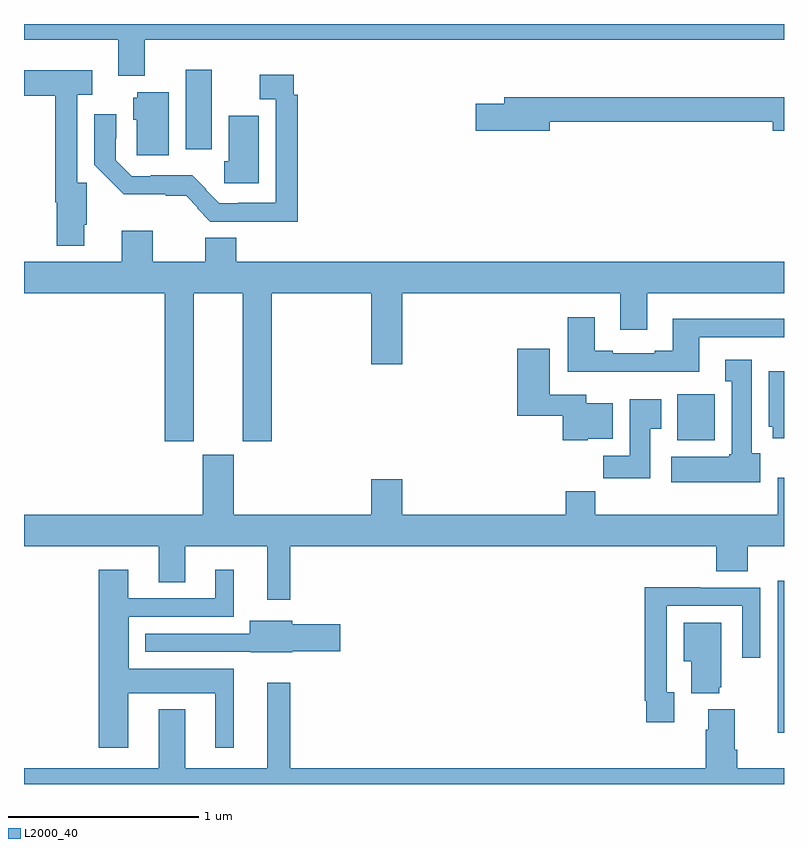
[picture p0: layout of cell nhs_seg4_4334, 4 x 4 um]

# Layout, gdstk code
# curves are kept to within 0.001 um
import gdstk
lib = gdstk.Library(unit=1e-6, precision=1e-09)
def R(c, l, rs):  # rectangles x0, y0, x1, y1
    for r in rs: c.add(gdstk.rectangle(r[:2], r[2:], *l))
def P(c, l, *ps):  # polygons
    for p in ps: c.add(gdstk.Polygon(p, *l))
L2000_40 = (2000, 40)

nhs_seg4_4334 = lib.new_cell('nhs_seg4_4334')
R(nhs_seg4_4334, L2000_40, [(346.439,798.71,346.636,798.952), (343.85,800.24,343.987,800.659)])
P(nhs_seg4_4334, L2000_40, [(343.636,800.816),(347,800.816),(347,800.9),(343,800.9),(343,800.816),(343.496,800.816),(343.496,800.627),(343.636,800.627)],
  [(343.318,799.843),(343.331,799.843),(343.331,800.064),(343.281,800.064),(343.281,800.527),(343.36,800.527),(343.36,800.656),(343,800.656),(343,800.522),(343.165,800.522),(343.165,799.961),(343.172,799.961),(343.172,799.733),(343.318,799.733)],
  [(344.441,800.528),(344.421,800.528),(344.421,800.632),(344.241,800.632),(344.241,800.504),(344.325,800.504),(344.325,799.96),(344.128,799.96),(344.128,799.956),(344.028,799.956),(343.956,800.028),(343.959,800.031),(343.885,800.105),(343.666,800.105),(343.666,800.1),(343.566,800.1),(343.482,800.184),(343.482,800.297),(343.486,800.297),(343.486,800.425),(343.37,800.425),(343.37,800.16),(343.525,800.003),(343.745,800.003),(343.745,799.995),(343.853,799.995),(343.915,799.933),(343.911,799.929),(343.981,799.859),(344.441,799.859)],
  [(343.762,800.542),(343.596,800.542),(343.596,800.511),(343.574,800.511),(343.574,800.397),(343.593,800.397),(343.593,800.208),(343.762,800.208)],
  [(345.766,800.386),(346.94,800.386),(346.94,800.339),(347,800.339),(347,800.515),(345.527,800.515),(345.527,800.481),(345.378,800.481),(345.378,800.339),(345.766,800.339)],
  [(344.236,800.416),(344.078,800.416),(344.078,800.178),(344.055,800.178),(344.055,800.061),(344.236,800.061)],
  [(343.894,799.484),(344.15,799.484),(344.15,798.705),(344.303,798.705),(344.303,799.484),(344.828,799.484),(344.828,799.11),(344.992,799.11),(344.992,799.484),(346.139,799.484),(346.139,799.29),(346.279,799.29),(346.279,799.484),(347,799.484),(347,799.648),(344.116,799.648),(344.116,799.774),(343.955,799.774),(343.955,799.648),(343.678,799.648),(343.678,799.813),(343.514,799.813),(343.514,799.648),(343,799.648),(343,799.484),(343.742,799.484),(343.742,798.705),(343.894,798.705)],
  [(346.555,799.251),(347,799.251),(347,799.348),(346.415,799.348),(346.415,799.18),(346.319,799.18),(346.319,799.167),(346.099,799.167),(346.099,799.18),(346.003,799.18),(346.003,799.357),(345.863,799.357),(345.863,799.07),(346.555,799.07)],
  [(345.966,798.716),(346.099,798.716),(346.099,798.904),(345.958,798.904),(345.958,798.949),(345.766,798.949),(345.766,799.192),(345.596,799.192),(345.596,798.839),(345.836,798.839),(345.836,798.71),(345.966,798.71)],
  [(346.876,798.642),(346.831,798.642),(346.831,799.132),(346.691,799.132),(346.691,799.019),(346.724,799.019),(346.724,798.636),(346.711,798.636),(346.711,798.622),(346.407,798.622),(346.407,798.488),(346.876,798.488)],
  [(347,799.072),(346.919,799.072),(346.919,798.78),(346.94,798.78),(346.94,798.72),(347,798.72)],
  [(346.297,798.769),(346.354,798.769),(346.354,798.925),(346.187,798.925),(346.187,798.628),(346.048,798.628),(346.048,798.51),(346.297,798.51)],
  [(344.401,798.152),(346.643,798.152),(346.643,798.019),(346.808,798.019),(346.808,798.152),(347,798.152),(347,798.511),(346.967,798.511),(346.967,798.316),(346.007,798.316),(346.007,798.44),(345.851,798.44),(345.851,798.316),(344.992,798.316),(344.992,798.505),(344.828,798.505),(344.828,798.316),(344.104,798.316),(344.104,798.633),(343.94,798.633),(343.94,798.316),(343,798.316),(343,798.152),(343.709,798.152),(343.709,797.962),(343.849,797.962),(343.849,798.152),(344.279,798.152),(344.279,797.871),(344.401,797.871)],
  [(343.549,797.378),(344.006,797.378),(344.006,797.091),(344.104,797.091),(344.104,797.506),(343.552,797.506),(343.552,797.781),(344.104,797.781),(344.104,798.028),(344.006,798.028),(344.006,797.877),(343.549,797.877),(343.549,798.028),(343.394,798.028),(343.394,797.091),(343.549,797.091)],
  [(347,797.971),(346.968,797.971),(346.968,797.477),(346.966,797.477),(346.966,797.171),(347,797.171)],
  [(346.423,797.382),(346.383,797.382),(346.383,797.838),(346.779,797.838),(346.779,797.565),(346.875,797.565),(346.875,797.934),(346.559,797.934),(346.559,797.936),(346.267,797.936),(346.267,797.338),(346.275,797.338),(346.275,797.226),(346.423,797.226)],
  [(344.412,797.6),(344.665,797.6),(344.665,797.742),(344.412,797.742),(344.412,797.758),(344.189,797.758),(344.189,797.691),(343.637,797.691),(343.637,797.595),(344.193,797.595),(344.193,797.594),(344.412,797.594)],
  [(346.658,797.409),(346.669,797.409),(346.669,797.749),(346.472,797.749),(346.472,797.546),(346.511,797.546),(346.511,797.378),(346.658,797.378)],
  [(347,796.984),(346.754,796.984),(346.754,797.08),(346.741,797.08),(346.741,797.293),(346.601,797.293),(346.601,797.186),(346.589,797.186),(346.589,796.984),(344.401,796.984),(344.401,797.434),(344.279,797.434),(344.279,796.984),(343.849,796.984),(343.849,797.293),(343.709,797.293),(343.709,796.984),(343,796.984),(343,796.9),(347,796.9)])

lib.write_gds('nhs_seg4_4334.gds')
